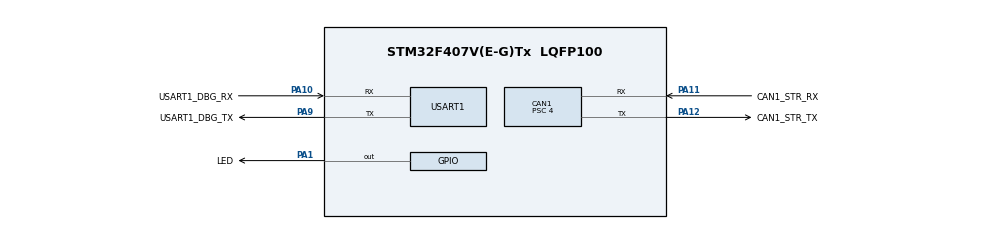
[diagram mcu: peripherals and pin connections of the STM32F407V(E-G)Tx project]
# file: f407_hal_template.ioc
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CAN1.ABOM=ENABLE
CAN1.BS1=CAN_BS1_13TQ
CAN1.BS2=CAN_BS2_2TQ
CAN1.CalculateBaudRate=500000
CAN1.CalculateTimeBit=2000
CAN1.CalculateTimeQuantum=125.0
CAN1.NART=DISABLE
CAN1.Prescaler=4
CAN1.TXFP=ENABLE
Dma.Request0=USART1_RX
Dma.Request1=USART1_TX
Dma.USART1_RX.0.Direction=DMA_PERIPH_TO_MEMORY
Dma.USART1_RX.0.FIFOMode=DMA_FIFOMODE_DISABLE
Dma.USART1_RX.0.Instance=DMA2_Stream2
Dma.USART1_RX.0.MemDataAlignment=DMA_MDATAALIGN_BYTE
Dma.USART1_RX.0.MemInc=DMA_MINC_ENABLE
Dma.USART1_RX.0.Mode=DMA_NORMAL
Dma.USART1_RX.0.PeriphDataAlignment=DMA_PDATAALIGN_BYTE
Dma.USART1_RX.0.PeriphInc=DMA_PINC_DISABLE
Dma.USART1_RX.0.Priority=DMA_PRIORITY_LOW
Dma.USART1_TX.1.Direction=DMA_MEMORY_TO_PERIPH
Dma.USART1_TX.1.FIFOMode=DMA_FIFOMODE_DISABLE
Dma.USART1_TX.1.Instance=DMA2_Stream7
Dma.USART1_TX.1.MemDataAlignment=DMA_MDATAALIGN_BYTE
Dma.USART1_TX.1.MemInc=DMA_MINC_ENABLE
Dma.USART1_TX.1.Mode=DMA_NORMAL
Dma.USART1_TX.1.PeriphDataAlignment=DMA_PDATAALIGN_BYTE
Dma.USART1_TX.1.PeriphInc=DMA_PINC_DISABLE
Dma.USART1_TX.1.Priority=DMA_PRIORITY_LOW
Mcu.Family=STM32F4
Mcu.Name=STM32F407V(E-G)Tx
Mcu.Package=LQFP100
NVIC.CAN1_RX0_IRQn=true\:0\:0\:false\:false\:true\:true\:true\:true
NVIC.CAN1_SCE_IRQn=true\:0\:0\:false\:false\:true\:true\:true\:true
NVIC.DMA2_Stream2_IRQn=true\:0\:0\:false\:false\:true\:false\:true\:true
NVIC.DMA2_Stream7_IRQn=true\:0\:0\:false\:false\:true\:false\:true\:true
NVIC.PriorityGroup=NVIC_PRIORITYGROUP_4
NVIC.TIM5_IRQn=true\:15\:0\:false\:false\:true\:false\:true\:true
NVIC.TimeBase=TIM5_IRQn
NVIC.TimeBaseIP=TIM5
NVIC.USART1_IRQn=true\:0\:0\:false\:false\:true\:true\:true\:true
PA1.GPIO_Label=LED
PA1.Signal=GPIO_Output
PA10.GPIO_Label=USART1_DBG_RX
PA10.Mode=Asynchronous
PA10.Signal=USART1_RX
PA11.GPIO_Label=CAN1_STR_RX
PA11.Mode=CAN_Activate
PA11.Signal=CAN1_RX
PA12.GPIO_Label=CAN1_STR_TX
PA12.Mode=CAN_Activate
PA12.Signal=CAN1_TX
PA13.Mode=Serial_Wire
PA13.Signal=SYS_JTMS-SWDIO
PA14.Mode=Serial_Wire
PA14.Signal=SYS_JTCK-SWCLK
PA9.GPIO_Label=USART1_DBG_TX
PA9.Mode=Asynchronous
PA9.Signal=USART1_TX
PH0-OSC_IN.Mode=HSE-External-Oscillator
PH0-OSC_IN.Signal=RCC_OSC_IN
PH1-OSC_OUT.Mode=HSE-External-Oscillator
PH1-OSC_OUT.Signal=RCC_OSC_OUT
ProjectManager.HeapSize=0x200
ProjectManager.StackSize=0x400
ProjectManager.TargetToolchain=STM32CubeIDE
RCC.48MHZClocksFreq_Value=64000000
RCC.AHBFreq_Value=128000000
RCC.APB1CLKDivider=RCC_HCLK_DIV4
RCC.APB1Freq_Value=32000000
RCC.APB1TimFreq_Value=64000000
RCC.APB2CLKDivider=RCC_HCLK_DIV2
RCC.APB2Freq_Value=64000000
RCC.APB2TimFreq_Value=128000000
RCC.CortexFreq_Value=128000000
RCC.HCLKFreq_Value=128000000
RCC.HSE_VALUE=8000000
RCC.HSI_VALUE=16000000
RCC.LSE_VALUE=32768
RCC.PLLM=4
RCC.PLLN=128
RCC.PLLSourceVirtual=RCC_PLLSOURCE_HSE
RCC.SYSCLKFreq_VALUE=128000000
RCC.SYSCLKSource=RCC_SYSCLKSOURCE_PLLCLK
RCC.VCOOutputFreq_Value=256000000
USART1.VirtualMode=VM_ASYNC
VP_SYS_VS_tim5.Mode=TIM5
board=custom

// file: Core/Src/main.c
/* USER CODE BEGIN Header */
/**
  ******************************************************************************
  * @file           : main.c
  * @brief          : Main program body
  ******************************************************************************
  * @attention
  *
  * Copyright (c) 2024 STMicroelectronics.
  * All rights reserved.
  *
  * This software is licensed under terms that can be found in the LICENSE file
  * in the root directory of this software component.
  * If no LICENSE file comes with this software, it is provided AS-IS.
  *
  ******************************************************************************
  */
/* USER CODE END Header */
#include "main.h"
#include "can.h"
#include "dma.h"
#include "usart.h"
#include "gpio.h"

/* USER CODE BEGIN PD */
__attribute__((section(".myvars.COMPILATION_TIMESTAMP"))) char COMPILATION_TIMESTAMP[] = __TIMESTAMP__;
__attribute__((section(".mycrc.COMPILATION_CRC"))) uint32_t gCrcDword = 0xFFFFFFFF; // ToDo: dirty hack to force erase of MYCRC page on CubeIDE Debug

static uint16_t pCrcBuf[FLASH_TIMESTAMP_PAGE] __attribute__ ((aligned (1))); // ToDo: Make dynamic
/* USER CODE END PD */

/* USER CODE BEGIN PV */
SharedData sharedData;
/* USER CODE END PV */

void SystemClock_Config(void);

int main(void)
{

  /* USER CODE BEGIN 1 */
//    __disable_irq();
    SCB->VTOR = FLASH_FW_START_ADDR;
    __set_MSP(*((volatile uint32_t*) FLASH_FW_START_ADDR));
    __set_PSP(*((volatile uint32_t*) FLASH_FW_START_ADDR));
    __enable_irq();
  /* USER CODE END 1 */

  /* MCU Configuration--------------------------------------------------------*/

  /* Reset of all peripherals, Initializes the Flash interface and the Systick. */
  HAL_Init();

  /* Configure the system clock */
  SystemClock_Config();

  /* Initialize all configured peripherals */
  MX_GPIO_Init();
  MX_DMA_Init();
  MX_CAN1_Init();
  MX_USART1_UART_Init();
  /* USER CODE BEGIN 2 */
  // Check CRC
  uint32_t crcDword = 0;
  if (Flash_Read((FLASH_CRC_START_ADDR - FLASH_USER_START_ADDR), &crcDword) == FLASH_OK && crcDword == 0xFFFFFFFF)
  {
      // Compute our own CRC
      if (Flash_ProcessAppCrc(FLASH_TIMESTAMP_PAGE, pCrcBuf, FLASH_COMPUTE_CRC) == FLASH_OK)
      {
          // Save CRC to last page
          if (Flash_UpdateChunk((uint8_t*) pCrcBuf, sizeof(pCrcBuf), FLASH_CRC_PAGE) != FLASH_OK)
          {
              NVIC_SystemReset();
          }
      }
  }
  /* USER CODE END 2 */

  /* Infinite loop */
  /* USER CODE BEGIN WHILE */
  while (1)
  {
      HAL_GPIO_TogglePin(LED_GPIO_Port, LED_Pin);
      HAL_Delay(500);
    /* USER CODE END WHILE */

  }
}

void SystemClock_Config(void)
{
  LL_FLASH_SetLatency(LL_FLASH_LATENCY_4);
  while(LL_FLASH_GetLatency()!= LL_FLASH_LATENCY_4)
  {
  }
  LL_PWR_SetRegulVoltageScaling(LL_PWR_REGU_VOLTAGE_SCALE1);
  LL_RCC_HSE_Enable();

   /* Wait till HSE is ready */
  while(LL_RCC_HSE_IsReady() != 1)
  {

  }
  LL_RCC_PLL_ConfigDomain_SYS(LL_RCC_PLLSOURCE_HSE, LL_RCC_PLLM_DIV_4, 128, LL_RCC_PLLP_DIV_2);
  LL_RCC_PLL_Enable();

   /* Wait till PLL is ready */
  while(LL_RCC_PLL_IsReady() != 1)
  {

  }
  while (LL_PWR_IsActiveFlag_VOS() == 0)
  {
  }
  LL_RCC_SetAHBPrescaler(LL_RCC_SYSCLK_DIV_1);
  LL_RCC_SetAPB1Prescaler(LL_RCC_APB1_DIV_4);
  LL_RCC_SetAPB2Prescaler(LL_RCC_APB2_DIV_2);
  LL_RCC_SetSysClkSource(LL_RCC_SYS_CLKSOURCE_PLL);

   /* Wait till System clock is ready */
  while(LL_RCC_GetSysClkSource() != LL_RCC_SYS_CLKSOURCE_STATUS_PLL)
  {

  }
  LL_SetSystemCoreClock(128000000);

   /* Update the time base */
  if (HAL_InitTick (TICK_INT_PRIORITY) != HAL_OK)
  {
    Error_Handler();
  }
}

void HAL_TIM_PeriodElapsedCallback(TIM_HandleTypeDef *htim)
{
  if (htim->Instance == TIM5) {
    HAL_IncTick();
  }
}

void Error_Handler(void)
{
  __disable_irq();
  while (1)
  {
  }
}
